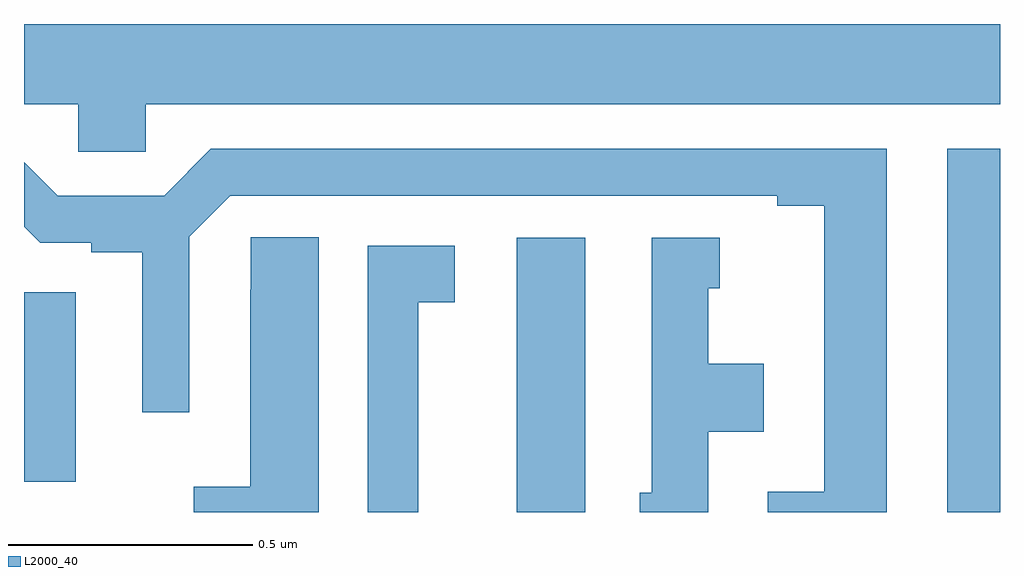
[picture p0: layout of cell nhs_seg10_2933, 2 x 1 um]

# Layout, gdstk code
import gdstk
lib = gdstk.Library(unit=1e-6, precision=1e-09)
def R(c, l, rs):  # rectangles x0, y0, x1, y1
    for r in rs: c.add(gdstk.rectangle(r[:2], r[2:], *l))
def P(c, l, *ps):  # polygons
    for p in ps: c.add(gdstk.Polygon(p, *l))
L2000_40 = (2000, 40)

nhs_seg10_2933 = lib.new_cell('nhs_seg10_2933')
R(nhs_seg10_2933, L2000_40, [(148.01,1279.5,148.15,1280.062), (148.892,1279.5,149,1280.244), (147,1279.562,147.106,1279.95)])
P(nhs_seg10_2933, L2000_40, [(147.249,1280.336),(149,1280.336),(149,1280.5),(147,1280.5),(147,1280.336),(147.111,1280.336),(147.111,1280.238),(147.249,1280.238)],
  [(148.768,1280.244),(147.383,1280.244),(147.287,1280.148),(147.069,1280.148),(147,1280.217),(147,1280.085),(147.033,1280.052),(147.138,1280.052),(147.138,1280.032),(147.242,1280.032),(147.242,1279.704),(147.339,1279.704),(147.339,1280.064),(147.423,1280.148),(148.544,1280.148),(148.544,1280.128),(148.64,1280.128),(148.64,1279.542),(148.524,1279.542),(148.524,1279.5),(148.768,1279.5)],
  [(147.604,1280.063),(147.465,1280.063),(147.465,1279.955),(147.464,1279.955),(147.464,1279.552),(147.348,1279.552),(147.348,1279.5),(147.604,1279.5)],
  [(148.402,1279.664),(148.516,1279.664),(148.516,1279.804),(148.402,1279.804),(148.402,1279.959),(148.426,1279.959),(148.426,1280.062),(148.286,1280.062),(148.286,1279.539),(148.262,1279.539),(148.262,1279.5),(148.402,1279.5)],
  [(147.808,1279.93),(147.883,1279.93),(147.883,1280.046),(147.704,1280.046),(147.704,1279.5),(147.808,1279.5)])

lib.write_gds('nhs_seg10_2933.gds')
